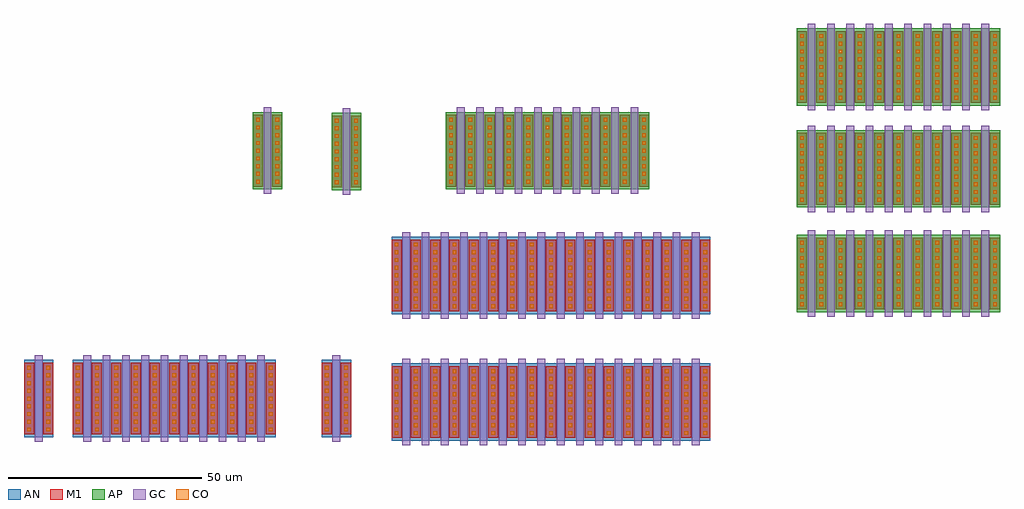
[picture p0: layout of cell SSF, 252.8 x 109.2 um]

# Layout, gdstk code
import gdstk
lib = gdstk.Library(unit=1e-6, precision=1e-09)
def R(c, l, rs):  # rectangles x0, y0, x1, y1
    for r in rs: c.add(gdstk.rectangle(r[:2], r[2:], *l))
def A(c, l, x, y, w, h, nx, ny, dx, dy):  # array of equal rectangles
    R(c, l, [(x+i*dx, y+j*dy, x+i*dx+w, y+j*dy+h) for i in range(nx) for j in range(ny)])
AP = (3, 1)
AN = (3, 2)
GC = (8, 1)
CO = (11, 0)
M1 = (13, 0)

fet_n = lib.new_cell('fet_n')
R(fet_n, AN, [(-41.3,-10,41.3,10)])
A(fet_n, CO, -40.5, -8.5, 1, 1, 17, 9, 5, 2)
A(fet_n, M1, -41.3, -9.3, 2.6, 18.6, 17, 1, 5, 0)
fet_n.add(gdstk.FlexPath([(2.5,-11.2),(2.5,11.2)], 2, ends="flush", simple_path=True, layer=8, datatype=1))  # GC
fet_n.add(gdstk.FlexPath([(-2.5,-11.2),(-2.5,11.2)], 2, ends="flush", simple_path=True, layer=8, datatype=1))  # GC
fet_n.add(gdstk.FlexPath([(7.5,-11.2),(7.5,11.2)], 2, ends="flush", simple_path=True, layer=8, datatype=1))  # GC
fet_n.add(gdstk.FlexPath([(-7.5,-11.2),(-7.5,11.2)], 2, ends="flush", simple_path=True, layer=8, datatype=1))  # GC
fet_n.add(gdstk.FlexPath([(12.5,-11.2),(12.5,11.2)], 2, ends="flush", simple_path=True, layer=8, datatype=1))  # GC
fet_n.add(gdstk.FlexPath([(-12.5,-11.2),(-12.5,11.2)], 2, ends="flush", simple_path=True, layer=8, datatype=1))  # GC
fet_n.add(gdstk.FlexPath([(17.5,-11.2),(17.5,11.2)], 2, ends="flush", simple_path=True, layer=8, datatype=1))  # GC
fet_n.add(gdstk.FlexPath([(-17.5,-11.2),(-17.5,11.2)], 2, ends="flush", simple_path=True, layer=8, datatype=1))  # GC
fet_n.add(gdstk.FlexPath([(22.5,-11.2),(22.5,11.2)], 2, ends="flush", simple_path=True, layer=8, datatype=1))  # GC
fet_n.add(gdstk.FlexPath([(-22.5,-11.2),(-22.5,11.2)], 2, ends="flush", simple_path=True, layer=8, datatype=1))  # GC
fet_n.add(gdstk.FlexPath([(27.5,-11.2),(27.5,11.2)], 2, ends="flush", simple_path=True, layer=8, datatype=1))  # GC
fet_n.add(gdstk.FlexPath([(-27.5,-11.2),(-27.5,11.2)], 2, ends="flush", simple_path=True, layer=8, datatype=1))  # GC
fet_n.add(gdstk.FlexPath([(32.5,-11.2),(32.5,11.2)], 2, ends="flush", simple_path=True, layer=8, datatype=1))  # GC
fet_n.add(gdstk.FlexPath([(-32.5,-11.2),(-32.5,11.2)], 2, ends="flush", simple_path=True, layer=8, datatype=1))  # GC
fet_n.add(gdstk.FlexPath([(37.5,-11.2),(37.5,11.2)], 2, ends="flush", simple_path=True, layer=8, datatype=1))  # GC
fet_n.add(gdstk.FlexPath([(-37.5,-11.2),(-37.5,11.2)], 2, ends="flush", simple_path=True, layer=8, datatype=1))  # GC

fet_p = lib.new_cell('fet_p')
R(fet_p, AP, [(-26.3,-10,26.3,10)])
A(fet_p, CO, -25.5, -8.5, 1, 1, 11, 9, 5, 2)
A(fet_p, M1, -26.3, -9.3, 2.6, 18.6, 11, 1, 5, 0)
fet_p.add(gdstk.FlexPath([(2.5,-11.2),(2.5,11.2)], 2, ends="flush", simple_path=True, layer=8, datatype=1))  # GC
fet_p.add(gdstk.FlexPath([(-2.5,-11.2),(-2.5,11.2)], 2, ends="flush", simple_path=True, layer=8, datatype=1))  # GC
fet_p.add(gdstk.FlexPath([(7.5,-11.2),(7.5,11.2)], 2, ends="flush", simple_path=True, layer=8, datatype=1))  # GC
fet_p.add(gdstk.FlexPath([(-7.5,-11.2),(-7.5,11.2)], 2, ends="flush", simple_path=True, layer=8, datatype=1))  # GC
fet_p.add(gdstk.FlexPath([(12.5,-11.2),(12.5,11.2)], 2, ends="flush", simple_path=True, layer=8, datatype=1))  # GC
fet_p.add(gdstk.FlexPath([(-12.5,-11.2),(-12.5,11.2)], 2, ends="flush", simple_path=True, layer=8, datatype=1))  # GC
fet_p.add(gdstk.FlexPath([(17.5,-11.2),(17.5,11.2)], 2, ends="flush", simple_path=True, layer=8, datatype=1))  # GC
fet_p.add(gdstk.FlexPath([(-17.5,-11.2),(-17.5,11.2)], 2, ends="flush", simple_path=True, layer=8, datatype=1))  # GC
fet_p.add(gdstk.FlexPath([(22.5,-11.2),(22.5,11.2)], 2, ends="flush", simple_path=True, layer=8, datatype=1))  # GC
fet_p.add(gdstk.FlexPath([(-22.5,-11.2),(-22.5,11.2)], 2, ends="flush", simple_path=True, layer=8, datatype=1))  # GC

fet_n_3 = lib.new_cell('fet_n$3')
R(fet_n_3, AN, [(-3.8,-10,3.8,10)])
A(fet_n_3, CO, -3, -8.5, 1, 1, 1, 9, 0, 2)
A(fet_n_3, CO, 2, -8.5, 1, 1, 1, 9, 0, 2)
R(fet_n_3, M1, [(-3.8,-9.3,-1.2,9.3), (1.2,-9.3,3.8,9.3)])
fet_n_3.add(gdstk.FlexPath([(0,-11.2),(0,11.2)], 2, ends="flush", simple_path=True, layer=8, datatype=1))  # GC

fet_p_1 = lib.new_cell('fet_p$1')
R(fet_p_1, AP, [(-3.8,-10,3.8,10)])
A(fet_p_1, CO, -3, -8.5, 1, 1, 1, 9, 0, 2)
A(fet_p_1, CO, 2, -8.5, 1, 1, 1, 9, 0, 2)
R(fet_p_1, M1, [(-3.8,-9.3,-1.2,9.3), (1.2,-9.3,3.8,9.3)])
fet_p_1.add(gdstk.FlexPath([(0,-11.2),(0,11.2)], 2, ends="flush", simple_path=True, layer=8, datatype=1))  # GC

fet_n_2 = lib.new_cell('fet_n$2')
R(fet_n_2, AN, [(-26.3,-10,26.3,10)])
A(fet_n_2, CO, -25.5, -8.5, 1, 1, 11, 9, 5, 2)
A(fet_n_2, M1, -26.3, -9.3, 2.6, 18.6, 11, 1, 5, 0)
fet_n_2.add(gdstk.FlexPath([(2.5,-11.2),(2.5,11.2)], 2, ends="flush", simple_path=True, layer=8, datatype=1))  # GC
fet_n_2.add(gdstk.FlexPath([(-2.5,-11.2),(-2.5,11.2)], 2, ends="flush", simple_path=True, layer=8, datatype=1))  # GC
fet_n_2.add(gdstk.FlexPath([(7.5,-11.2),(7.5,11.2)], 2, ends="flush", simple_path=True, layer=8, datatype=1))  # GC
fet_n_2.add(gdstk.FlexPath([(-7.5,-11.2),(-7.5,11.2)], 2, ends="flush", simple_path=True, layer=8, datatype=1))  # GC
fet_n_2.add(gdstk.FlexPath([(12.5,-11.2),(12.5,11.2)], 2, ends="flush", simple_path=True, layer=8, datatype=1))  # GC
fet_n_2.add(gdstk.FlexPath([(-12.5,-11.2),(-12.5,11.2)], 2, ends="flush", simple_path=True, layer=8, datatype=1))  # GC
fet_n_2.add(gdstk.FlexPath([(17.5,-11.2),(17.5,11.2)], 2, ends="flush", simple_path=True, layer=8, datatype=1))  # GC
fet_n_2.add(gdstk.FlexPath([(-17.5,-11.2),(-17.5,11.2)], 2, ends="flush", simple_path=True, layer=8, datatype=1))  # GC
fet_n_2.add(gdstk.FlexPath([(22.5,-11.2),(22.5,11.2)], 2, ends="flush", simple_path=True, layer=8, datatype=1))  # GC
fet_n_2.add(gdstk.FlexPath([(-22.5,-11.2),(-22.5,11.2)], 2, ends="flush", simple_path=True, layer=8, datatype=1))  # GC

ssf = lib.new_cell('SSF')
ssf.add(gdstk.Reference(fet_n, (47,1.8)))
ssf.add(gdstk.Reference(fet_n, (47,34.6)))
ssf.add(gdstk.Reference(fet_p, (46.1,66.9)))
ssf.add(gdstk.Reference(fet_p, (137,62.2)))
ssf.add(gdstk.Reference(fet_p, (137,35.1)))
ssf.add(gdstk.Reference(fet_p, (137,88.6)))
ssf.add(gdstk.Reference(fet_n_3, (-85.7,2.7)))
ssf.add(gdstk.Reference(fet_p_1, (-6,66.7)))
ssf.add(gdstk.Reference(fet_p_1, (-26.4,66.9)))
ssf.add(gdstk.Reference(fet_n_2, (-50.6,2.7)))
ssf.add(gdstk.Reference(fet_p_1, (-6,66.7)))
ssf.add(gdstk.Reference(fet_n_2, (-50.6,2.7)))
ssf.add(gdstk.Reference(fet_n_3, (-8.6,2.7)))

lib.write_gds('SSF.gds')
